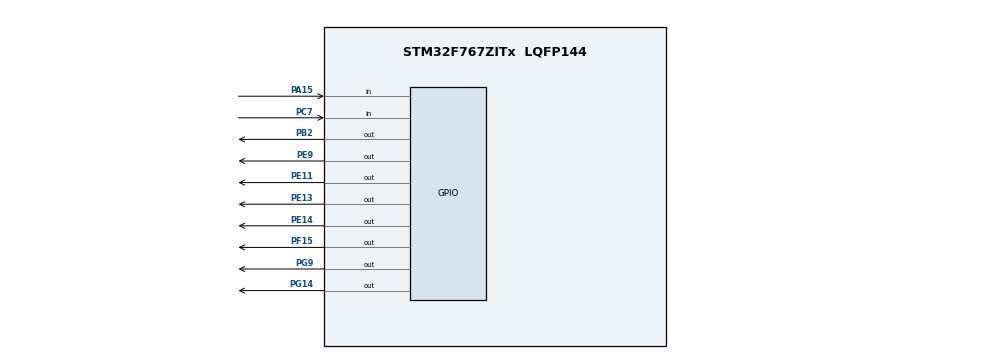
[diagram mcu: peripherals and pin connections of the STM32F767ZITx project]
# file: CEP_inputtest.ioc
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Mcu.Family=STM32F7
Mcu.Name=STM32F767ZITx
Mcu.Package=LQFP144
NVIC.PriorityGroup=NVIC_PRIORITYGROUP_4
PA15.Signal=GPIO_Input
PB2.Signal=GPIO_Output
PC7.Signal=GPIO_Input
PE11.Signal=GPIO_Output
PE13.Signal=GPIO_Output
PE14.Signal=GPIO_Output
PE9.Signal=GPIO_Output
PF15.Signal=GPIO_Output
PG14.Signal=GPIO_Output
PG9.Signal=GPIO_Output
ProjectManager.HeapSize=0x200
ProjectManager.StackSize=0x400
ProjectManager.TargetToolchain=STM32CubeIDE
RCC.HSE_VALUE=25000000
RCC.HSI_VALUE=16000000
RCC.LSE_VALUE=32768
RCC.USBFreq_Value=96000000
RCC.VCOOutputFreq_Value=192000000
board=custom

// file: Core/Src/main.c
/* USER CODE BEGIN Header */
/**
  ******************************************************************************
  * @file           : main.c
  * @brief          : Main program body
  ******************************************************************************
  * @attention
  *
  * Copyright (c) 2025 STMicroelectronics.
  * All rights reserved.
  *
  * This software is licensed under terms that can be found in the LICENSE file
  * in the root directory of this software component.
  * If no LICENSE file comes with this software, it is provided AS-IS.
  *
  ******************************************************************************
  */
/* USER CODE END Header */
#include "main.h"
#include "gpio.h"

void SystemClock_Config(void);
static void MPU_Initialize(void);
static void MPU_Config(void);

int main(void)
{

  /* MCU Configuration--------------------------------------------------------*/

  /* Reset of all peripherals, Initializes the Flash interface and the Systick. */
  HAL_Init();

  /* MPU Configuration--------------------------------------------------------*/
  MPU_Config();

  /* Configure the system clock */
  SystemClock_Config();

  /* Initialize all configured peripherals */
  MX_GPIO_Init();

  /* Infinite loop */
  /* USER CODE BEGIN WHILE */
  while (1)
  {

	//submit1
	  if(HAL_GPIO_ReadPin(GPIOA, GPIO_PIN_15)== GPIO_PIN_SET && HAL_GPIO_ReadPin(GPIOC, GPIO_PIN_7)== GPIO_PIN_RESET){
		  HAL_GPIO_WritePin(GPIOE, GPIO_PIN_9,0);
		  HAL_GPIO_WritePin(GPIOB, GPIO_PIN_2,1);
		  HAL_Delay(50);
		  HAL_GPIO_WritePin(GPIOB, GPIO_PIN_2,0);
		  HAL_GPIO_WritePin(GPIOG, GPIO_PIN_9,1);
		  HAL_Delay(50);
		  HAL_GPIO_WritePin(GPIOG, GPIO_PIN_9,0);
		  HAL_GPIO_WritePin(GPIOG, GPIO_PIN_14,1);
		  HAL_Delay(50);
		  HAL_GPIO_WritePin(GPIOG, GPIO_PIN_14,0);
		  HAL_GPIO_WritePin(GPIOF, GPIO_PIN_15,1);
		  HAL_Delay(50);
		  HAL_GPIO_WritePin(GPIOF, GPIO_PIN_15,0);
		  HAL_GPIO_WritePin(GPIOE, GPIO_PIN_13,1);
		  HAL_Delay(50);
		  HAL_GPIO_WritePin(GPIOE, GPIO_PIN_13,0);
		  HAL_GPIO_WritePin(GPIOF, GPIO_PIN_14,1);
		  HAL_Delay(50);
		  HAL_GPIO_WritePin(GPIOF, GPIO_PIN_14,0);
		  HAL_GPIO_WritePin(GPIOE, GPIO_PIN_11,1);
		  HAL_Delay(50);
		  HAL_GPIO_WritePin(GPIOE, GPIO_PIN_11,0);
		  HAL_GPIO_WritePin(GPIOE, GPIO_PIN_9,1);
		  HAL_Delay(50);
	  }
	  else if (HAL_GPIO_ReadPin(GPIOC, GPIO_PIN_7)== GPIO_PIN_SET && HAL_GPIO_ReadPin(GPIOA, GPIO_PIN_15)== GPIO_PIN_RESET) {
		  HAL_GPIO_WritePin(GPIOE, GPIO_PIN_9,0);
		  		  HAL_GPIO_WritePin(GPIOB, GPIO_PIN_2,1);
		  		  HAL_Delay(100);
		  		  HAL_GPIO_WritePin(GPIOB, GPIO_PIN_2,0);
		  		  HAL_GPIO_WritePin(GPIOG, GPIO_PIN_9,1);
		  		  HAL_Delay(100);
		  		  HAL_GPIO_WritePin(GPIOG, GPIO_PIN_9,0);
		  		  HAL_GPIO_WritePin(GPIOG, GPIO_PIN_14,1);
		  		  HAL_Delay(100);
		  		  HAL_GPIO_WritePin(GPIOG, GPIO_PIN_14,0);
		  		  HAL_GPIO_WritePin(GPIOF, GPIO_PIN_15,1);
		  		  HAL_Delay(100);
		  		  HAL_GPIO_WritePin(GPIOF, GPIO_PIN_15,0);
		  		  HAL_GPIO_WritePin(GPIOE, GPIO_PIN_13,1);
		  		  HAL_Delay(100);
		  		  HAL_GPIO_WritePin(GPIOE, GPIO_PIN_13,0);
		  		  HAL_GPIO_WritePin(GPIOF, GPIO_PIN_14,1);
		  		  HAL_Delay(100);
		  		  HAL_GPIO_WritePin(GPIOF, GPIO_PIN_14,0);
		  		  HAL_GPIO_WritePin(GPIOE, GPIO_PIN_11,1);
		  		  HAL_Delay(100);
		  		  HAL_GPIO_WritePin(GPIOE, GPIO_PIN_11,0);
		  		  HAL_GPIO_WritePin(GPIOE, GPIO_PIN_9,1);
		  		  HAL_Delay(100);
	}
	  else{
		  HAL_GPIO_WritePin(GPIOE, GPIO_PIN_9,0);
		  HAL_GPIO_WritePin(GPIOB, GPIO_PIN_2,0);
		  HAL_GPIO_WritePin(GPIOG, GPIO_PIN_9,0);
		  HAL_GPIO_WritePin(GPIOG, GPIO_PIN_14,0);
		  HAL_GPIO_WritePin(GPIOF, GPIO_PIN_15,0);
		  HAL_GPIO_WritePin(GPIOE, GPIO_PIN_13,0);
		  HAL_GPIO_WritePin(GPIOF, GPIO_PIN_14,0);
		  HAL_GPIO_WritePin(GPIOE, GPIO_PIN_11,0);
	  }
    /* USER CODE END WHILE */

  }
}

void SystemClock_Config(void)
{
  RCC_OscInitTypeDef RCC_OscInitStruct = {0};
  RCC_ClkInitTypeDef RCC_ClkInitStruct = {0};

  /** Configure the main internal regulator output voltage
  */
  __HAL_RCC_PWR_CLK_ENABLE();
  __HAL_PWR_VOLTAGESCALING_CONFIG(PWR_REGULATOR_VOLTAGE_SCALE3);

  /** Initializes the RCC Oscillators according to the specified parameters
  * in the RCC_OscInitTypeDef structure.
  */
  RCC_OscInitStruct.OscillatorType = RCC_OSCILLATORTYPE_HSI;
  RCC_OscInitStruct.HSIState = RCC_HSI_ON;
  RCC_OscInitStruct.HSICalibrationValue = RCC_HSICALIBRATION_DEFAULT;
  RCC_OscInitStruct.PLL.PLLState = RCC_PLL_NONE;
  if (HAL_RCC_OscConfig(&RCC_OscInitStruct) != HAL_OK)
  {
    Error_Handler();
  }

  /** Initializes the CPU, AHB and APB buses clocks
  */
  RCC_ClkInitStruct.ClockType = RCC_CLOCKTYPE_HCLK|RCC_CLOCKTYPE_SYSCLK
                              |RCC_CLOCKTYPE_PCLK1|RCC_CLOCKTYPE_PCLK2;
  RCC_ClkInitStruct.SYSCLKSource = RCC_SYSCLKSOURCE_HSI;
  RCC_ClkInitStruct.AHBCLKDivider = RCC_SYSCLK_DIV1;
  RCC_ClkInitStruct.APB1CLKDivider = RCC_HCLK_DIV1;
  RCC_ClkInitStruct.APB2CLKDivider = RCC_HCLK_DIV1;

  if (HAL_RCC_ClockConfig(&RCC_ClkInitStruct, FLASH_LATENCY_0) != HAL_OK)
  {
    Error_Handler();
  }
}

/* MPU Configuration */

void MPU_Config(void)
{
  MPU_Region_InitTypeDef MPU_InitStruct = {0};

  /* Disables the MPU */
  HAL_MPU_Disable();

  /** Initializes and configures the Region and the memory to be protected
  */
  MPU_InitStruct.Enable = MPU_REGION_ENABLE;
  MPU_InitStruct.Number = MPU_REGION_NUMBER0;
  MPU_InitStruct.BaseAddress = 0x0;
  MPU_InitStruct.Size = MPU_REGION_SIZE_4GB;
  MPU_InitStruct.SubRegionDisable = 0x87;
  MPU_InitStruct.TypeExtField = MPU_TEX_LEVEL0;
  MPU_InitStruct.AccessPermission = MPU_REGION_NO_ACCESS;
  MPU_InitStruct.DisableExec = MPU_INSTRUCTION_ACCESS_DISABLE;
  MPU_InitStruct.IsShareable = MPU_ACCESS_SHAREABLE;
  MPU_InitStruct.IsCacheable = MPU_ACCESS_NOT_CACHEABLE;
  MPU_InitStruct.IsBufferable = MPU_ACCESS_NOT_BUFFERABLE;

  HAL_MPU_ConfigRegion(&MPU_InitStruct);
  /* Enables the MPU */
  HAL_MPU_Enable(MPU_PRIVILEGED_DEFAULT);

}

void Error_Handler(void)
{
  __disable_irq();
  while (1)
  {
  }
}
